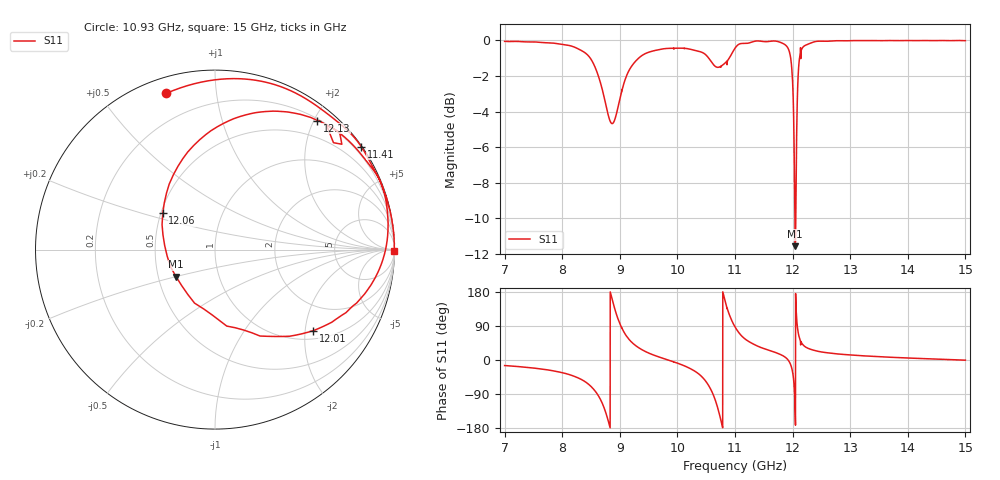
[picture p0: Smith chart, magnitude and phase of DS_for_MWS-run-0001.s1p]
! TOUCHSTONE file generated by CST DESIGN STUDIO
! Date and time: Mon Feb 10 16:41:25 2025
! Project name: C:\Work\MatlabApps\UnitCellType2OptimizationMatlab\CST\unitcell.cst
! Tree item: Tasks\Sweep1\SPara1\S-Parameters
! Header version: 2024
! Port assignment regex: !\s*Touchstone port\s*([0-9]+)\s*=\s*(CST MWS port|CST DES external port|CST DES block port)\s*(.+)\s* \(\"(.*)\"\)(\s*mode\s*([0-9]+))?.*
! Touchstone port assignment:
! Touchstone port 1 = CST DES external port 1 ("")
# GHz S MA R 50
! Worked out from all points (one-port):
!   4001 points, 7 GHz to 15 GHz, reference 50 ohm
!   lowest |S11| = -11.6 dB at 12.05 GHz (marker M1), VSWR 1.72, Z = 30.9 - j10 ohm
!   |S11| at or under -10 dB: 12.04021 GHz to 12.05523 GHz (15.02 MHz wide, 0.125 % of centre)
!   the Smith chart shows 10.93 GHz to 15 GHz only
!   S11 on the Smith chart (normalised r, x): 10.93 GHz: 0.07, +0.73; 11.41 GHz: 0.02, +3.15; 12.01 GHz: 1.21, -2.21; 12.06 GHz: 0.51, +0.24; 12.13 GHz: 0.23, +2.05; 15 GHz: open
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7  0.9943 -14.6
8  0.9746 -33.4
8.38  0.9274 -55.5
8.63  0.7927 -94.8
8.822  0.599 -173.4
9  0.6835 96.1
9.158  0.8224 54.8
9.342  0.8963 31.0
10  0.9513 -8.3
10.408  0.9284 -41.7
10.634  0.8524 -96.0
10.708  0.8404 -130.8
10.784  0.8527 -177.4
10.934  0.9116 107.4
11  0.9512 87.4
11.158  0.9809 57.5
11.414  0.9967 35.2
11.902  0.9615 3.4
12  0.7665 -31.8
12.008  0.7099 -39.5
12.046  0.2641 -145.2
12.058  0.3544 145.2
12.096  0.7946 73.7
12.132  0.9173 51.6
12.328  0.9853 27.5
13  0.9988 13.3
14  0.9995 5.2
15  0.9987 -0.5
